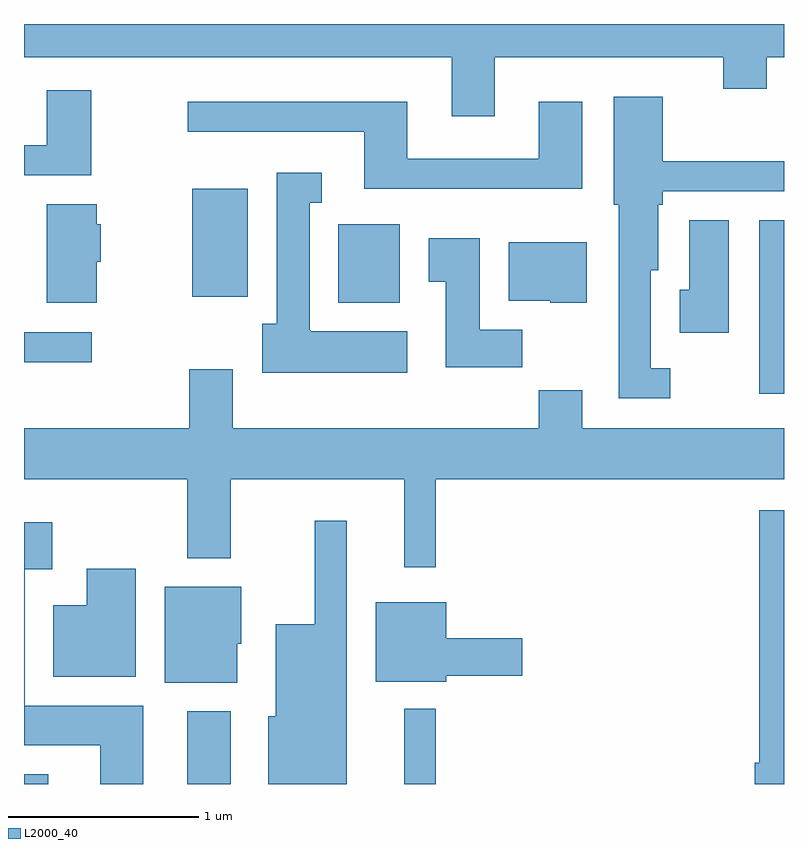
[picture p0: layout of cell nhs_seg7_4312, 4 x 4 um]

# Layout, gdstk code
import gdstk
lib = gdstk.Library(unit=1e-6, precision=1e-09)
def R(c, l, rs):  # rectangles x0, y0, x1, y1
    for r in rs: c.add(gdstk.rectangle(r[:2], r[2:], *l))
def P(c, l, *ps):  # polygons
    for p in ps: c.add(gdstk.Polygon(p, *l))
L2000_40 = (2000, 40)

nhs_seg7_4312 = lib.new_cell('nhs_seg7_4312')
R(nhs_seg7_4312, L2000_40, [(317.611,1728.252,317.739,1728.304), (318.471,1728.252,318.699,1728.634), (319.611,1728.252,319.779,1728.648), (321.481,1730.306,321.611,1731.219), (317.611,1730.471,317.968,1730.629), (319.266,1730.786,319.589,1731.199), (318.496,1730.816,318.789,1731.384)])
P(nhs_seg7_4312, L2000_40, [(317.611,1732.076),(319.861,1732.076),(319.861,1731.766),(320.089,1731.766),(320.089,1732.076),(321.291,1732.076),(321.291,1731.911),(321.519,1731.911),(321.519,1732.076),(321.611,1732.076),(321.611,1732.252),(317.611,1732.252)],
  [(317.964,1731.904),(317.731,1731.904),(317.731,1731.614),(317.611,1731.614),(317.611,1731.456),(317.964,1731.456)],
  [(321.013,1730.439),(320.909,1730.439),(320.909,1730.956),(320.949,1730.956),(320.949,1731.301),(320.974,1731.301),(320.974,1731.371),(321.611,1731.371),(321.611,1731.529),(320.974,1731.529),(320.974,1731.869),(320.716,1731.869),(320.716,1731.301),(320.741,1731.301),(320.741,1730.281),(321.013,1730.281)],
  [(320.549,1731.844),(320.321,1731.844),(320.321,1731.544),(319.629,1731.544),(319.629,1731.844),(318.473,1731.844),(318.473,1731.686),(319.401,1731.686),(319.401,1731.386),(320.549,1731.386)],
  [(319.629,1730.634),(319.12,1730.634),(319.12,1730.64),(319.114,1730.64),(319.114,1731.311),(319.178,1731.311),(319.178,1731.469),(318.941,1731.469),(318.941,1730.674),(318.866,1730.674),(318.866,1730.416),(319.629,1730.416)],
  [(317.994,1731.001),(318.014,1731.001),(318.014,1731.199),(317.994,1731.199),(317.994,1731.304),(317.731,1731.304),(317.731,1730.786),(317.994,1730.786)],
  [(321.319,1731.219),(321.111,1731.219),(321.111,1730.854),(321.061,1730.854),(321.061,1730.626),(321.319,1730.626)],
  [(320.234,1730.644),(320.009,1730.644),(320.009,1731.124),(319.741,1731.124),(319.741,1730.896),(319.831,1730.896),(319.831,1730.446),(320.234,1730.446)],
  [(320.574,1731.104),(320.161,1731.104),(320.161,1730.796),(320.38,1730.796),(320.38,1730.786),(320.574,1730.786)],
  [(319.779,1729.856),(321.611,1729.856),(321.611,1730.124),(320.549,1730.124),(320.549,1730.324),(320.321,1730.324),(320.321,1730.124),(318.709,1730.124),(318.709,1730.434),(318.481,1730.434),(318.481,1730.124),(317.611,1730.124),(317.611,1729.856),(318.471,1729.856),(318.471,1729.441),(318.699,1729.441),(318.699,1729.856),(319.611,1729.856),(319.611,1729.393),(319.779,1729.393)],
  [(321.611,1729.694),(321.481,1729.694),(321.481,1728.364),(321.456,1728.364),(321.456,1728.252),(321.611,1728.252)],
  [(319.309,1729.638),(319.141,1729.638),(319.141,1729.094),(318.936,1729.094),(318.936,1728.609),(318.896,1728.609),(318.896,1728.252),(319.309,1728.252)],
  [(318.239,1728.664),(317.614,1728.664),(317.614,1729.381),(317.759,1729.381),(317.759,1729.629),(317.611,1729.629),(317.611,1728.456),(318.011,1728.456),(318.011,1728.252),(318.239,1728.252)],
  [(318.199,1729.384),(317.941,1729.384),(317.941,1729.194),(317.766,1729.194),(317.766,1728.816),(318.199,1728.816)],
  [(318.734,1728.991),(318.754,1728.991),(318.754,1729.289),(318.351,1729.289),(318.351,1728.786),(318.734,1728.786)],
  [(319.834,1728.821),(320.234,1728.821),(320.234,1729.019),(319.834,1729.019),(319.834,1729.209),(319.461,1729.209),(319.461,1728.791),(319.834,1728.791)])

lib.write_gds('nhs_seg7_4312.gds')
